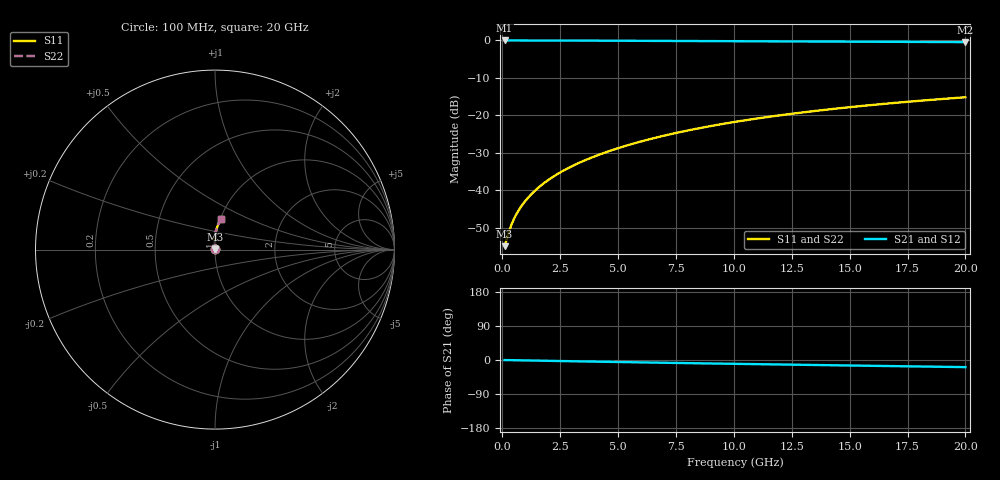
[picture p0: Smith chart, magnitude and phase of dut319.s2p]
! Touchstone file exported from HFSS 2024.1.0
!  File:  C:/UserFiles/LocalFiles/RDL_TSV_Batchsim/temp_RDL_bottom_319_1779610990.aedt
!  Generated:  04:25:37 PM May 24, 2026
!  Design:  RDL_bottom
!  Project:  temp_RDL_bottom_319_1779610990
!  Setup:  Setup1
!  Solution:  Sweep
! Variables:
!  dtsv = 10.80580581um
!  hbump = 3um
!  htsv = 88.03um
!  ldown = 255.37um
!  lrdl = 100um
!  p = 40
!  p1 = 46.69um
!  rhole = 1um
!  t = 450um
!  tdown = 2.65um
!  trdl = 3.915915916um
!  wdown = 26.56um
!  wrdl = 20um
# GHz S MA R 50.000000
! Terminal data exported
! Port[1] = RDL1_T1
! Port[2] = RDL1_T2
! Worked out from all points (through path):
!   200 points, 100 MHz to 20 GHz, reference 50 ohm
!   highest |S21| = -0.01 dB at 100 MHz (marker M1); lowest = -0.5 dB at 20 GHz (marker M2)
!   group delay of S21, straight-line fit = 2.58 ps
!   lowest |S11| = -54.9 dB at 100 MHz (marker M3), VSWR 1.00, Z = 50.2 + j0.0798 ohm
!   |S11| at or under -10 dB: start of sweep to end of sweep
!   |S22| runs from -54.9 to -15.2 dB; largest |S21 - S12| = 3.4e-15
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0.1  0.001804 26.2  0.9984 -0.1  0.9984 -0.1  0.001804 26.2
! Gamma 0 0 0 0
! Port Impedance 50 0 50 0
0.3  0.002893 52.8  0.9982 -0.3  0.9982 -0.3  0.002893 52.8
0.4  0.003516 58.8  0.9981 -0.5  0.9981 -0.5  0.003515 58.8
0.5  0.00414 63.0  0.998 -0.6  0.998 -0.6  0.00414 63.0
0.6  0.004762 66.2  0.9979 -0.7  0.9979 -0.7  0.004762 66.2
0.8  0.006007 71.0  0.9977 -0.9  0.9977 -0.9  0.006006 71.0
1  0.007264 74.4  0.9975 -1.1  0.9975 -1.1  0.007264 74.4
1.2  0.008542 77.1  0.9973 -1.3  0.9973 -1.3  0.008541 77.1
1.7  0.01183 81.7  0.9967 -1.9  0.9967 -1.9  0.01183 81.7
2.2  0.01524 84.6  0.996 -2.4  0.996 -2.4  0.01524 84.6
2.8  0.01949 87.0  0.995 -3.1  0.995 -3.1  0.01949 87.0
3.5  0.02467 88.9  0.9935 -3.8  0.9935 -3.8  0.02467 88.9
4.2  0.03009 90.1  0.9919 -4.5  0.9919 -4.5  0.03009 90.1
5  0.03655 90.9  0.9898 -5.3  0.9898 -5.3  0.03655 90.9
5.9  0.04415 91.3  0.9874 -6.2  0.9874 -6.2  0.04414 91.3
6.8  0.05202 91.3  0.9848 -7.1  0.9848 -7.1  0.05202 91.3
8.4  0.06654 90.6  0.9801 -8.6  0.9801 -8.6  0.06653 90.6
10.1  0.08242 89.3  0.9752 -10.2  0.9752 -10.2  0.08241 89.3
11.7  0.09755 87.8  0.9707 -11.6  0.9707 -11.6  0.09754 87.8
13.4  0.1136 86.0  0.9661 -13.1  0.9661 -13.1  0.1136 86.0
16.7  0.1445 82.5  0.9575 -16.0  0.9575 -16.0  0.1445 82.4
20  0.1746 78.9  0.9491 -18.8  0.9491 -18.8  0.1746 78.9
